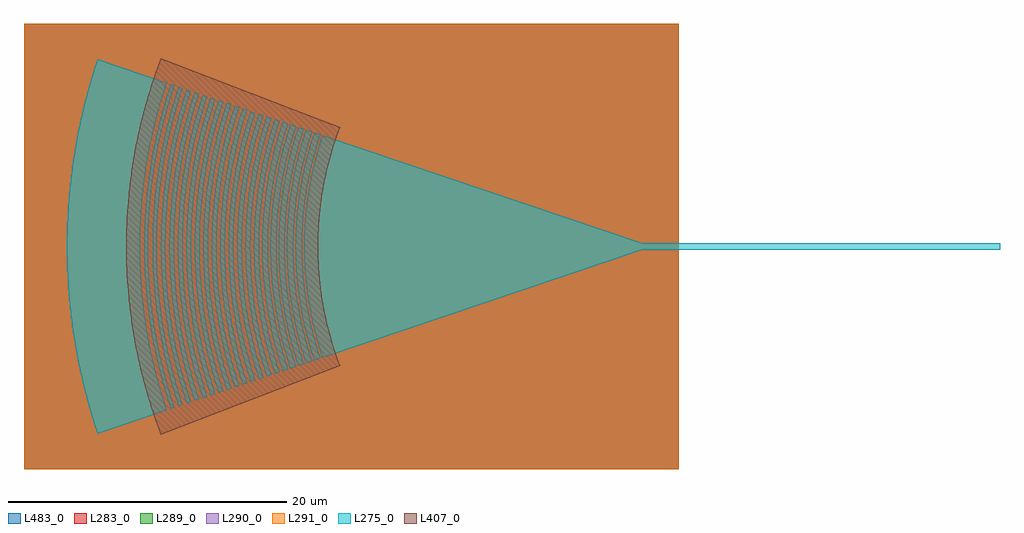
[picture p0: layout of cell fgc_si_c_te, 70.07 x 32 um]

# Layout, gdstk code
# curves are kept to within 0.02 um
import gdstk
lib = gdstk.Library(unit=1e-6, precision=1e-09)
def R(c, l, rs):  # rectangles x0, y0, x1, y1
    for r in rs: c.add(gdstk.rectangle(r[:2], r[2:], *l))
def P(c, l, *ps):  # polygons
    for p in ps: c.add(gdstk.Polygon(p, *l))
L275_0 = (275, 0)
L283_0 = (283, 0)
L289_0 = (289, 0)
L290_0 = (290, 0)
L291_0 = (291, 0)
L407_0 = (407, 0)
L483_0 = (483, 0)

fgc_si_c_te = lib.new_cell('fgc_si_c_te')
P(fgc_si_c_te, L275_0, [(1.793,-9.725),(1.407,-8.5),(1.104,-7.381),(0.81,-6.088),(0.599,-4.948),(0.432,-3.801),(0.295,-2.482),(0.222,-1.325),(0.194,-0.166),(0.222,1.325),(0.295,2.482),(0.432,3.801),(0.599,4.948),(0.81,6.088),(1.104,7.381),(1.407,8.5),(1.793,9.724),(2.117,9.615),(1.782,8.561),(1.476,7.456),(1.213,6.34),(0.964,5.054),(0.772,3.758),(0.65,2.618),(0.564,1.31),(0.536,0.164),(0.552,-0.983),(0.623,-2.291),(0.752,-3.595),(0.937,-4.892),(1.145,-6.02),(1.436,-7.297),(1.782,-8.561),(2.117,-9.616)],
  [(-2.237,-11.087),(-2.624,-9.872),(-3.023,-8.414),(-3.358,-6.941),(-3.567,-5.827),(-3.764,-4.52),(-3.929,-3.018),(-4.019,-1.699),(-4.06,-0.189),(-4.042,1.133),(-3.96,2.642),(-3.834,3.958),(-3.598,5.641),(-3.358,6.941),(-3.023,8.414),(-2.624,9.872),(-2.237,11.086),(-1.916,10.978),(-2.352,9.596),(-2.694,8.332),(-3.026,6.873),(-3.264,5.586),(-3.475,4.105),(-3.607,2.802),(-3.697,1.309),(-3.722,0),(-3.697,-1.309),(-3.607,-2.802),(-3.475,-4.105),(-3.264,-5.586),(-3.026,-6.873),(-2.694,-8.332),(-2.352,-9.596),(-1.916,-10.979)],
  [(-1.664,-10.894),(-2.044,-9.699),(-2.436,-8.267),(-2.765,-6.82),(-3.001,-5.542),(-3.188,-4.257),(-3.326,-2.965),(-3.423,-1.484),(-3.455,-0.186),(-3.437,1.113),(-3.356,2.596),(-3.211,4.073),(-3.001,5.542),(-2.765,6.82),(-2.436,8.267),(-2.044,9.699),(-1.664,10.893),(-1.336,10.782),(-1.712,9.6),(-2.1,8.183),(-2.388,6.93),(-2.659,5.486),(-2.844,4.214),(-2.981,2.935),(-3.077,1.469),(-3.109,0),(-3.077,-1.469),(-2.981,-2.935),(-2.844,-4.214),(-2.659,-5.486),(-2.388,-6.93),(-2.1,-8.183),(-1.712,-9.6),(-1.336,-10.783)],
  [(1.215,-9.921),(0.821,-8.671),(0.471,-7.365),(0.212,-6.211),(-0.003,-5.047),(-0.194,-3.709),(-0.327,-2.364),(-0.394,-1.183),(-0.417,0),(-0.394,1.183),(-0.327,2.364),(-0.194,3.709),(-0.003,5.047),(0.212,6.211),(0.471,7.365),(0.821,8.671),(1.215,9.92),(1.538,9.81),(1.102,8.415),(0.802,7.284),(0.361,5.157),(0.186,4),(0.041,2.671),(-0.047,1.337),(-0.076,0),(-0.047,-1.337),(0.041,-2.671),(0.186,-4),(0.361,-5.157),(0.802,-7.284),(1.102,-8.415),(1.538,-9.811)],
  [(-1.086,-10.698),(-1.459,-9.525),(-1.844,-8.119),(-2.13,-6.876),(-2.369,-5.623),(-2.583,-4.181),(-2.718,-2.912),(-2.805,-1.64),(-2.845,-0.182),(-2.821,1.275),(-2.748,2.549),(-2.605,4),(-2.399,5.443),(-2.13,6.876),(-1.844,8.119),(-1.459,9.525),(-1.086,10.697),(-0.755,10.585),(-1.175,9.253),(-1.505,8.034),(-1.825,6.627),(-2.054,5.386),(-2.258,3.958),(-2.4,2.522),(-2.472,1.262),(-2.496,0),(-2.472,-1.262),(-2.4,-2.522),(-2.258,-3.958),(-2.054,-5.386),(-1.825,-6.627),(-1.505,-8.034),(-1.175,-9.253),(-0.755,-10.586)],
  [(2.937,-9.339),(2.611,-8.315),(2.314,-7.242),(2.058,-6.158),(1.817,-4.908),(1.63,-3.649),(1.498,-2.384),(1.422,-1.113),(1.401,-0.159),(1.422,1.113),(1.498,2.384),(1.611,3.492),(1.765,4.594),(1.961,5.69),(2.275,7.087),(2.566,8.162),(2.937,9.338),(3.274,9.224),(2.864,7.912),(2.582,6.848),(2.341,5.775),(2.116,4.538),(1.964,3.449),(1.853,2.355),(1.784,1.257),(1.757,0.157),(1.772,-0.943),(1.853,-2.355),(1.964,-3.449),(2.116,-4.538),(2.341,-5.775),(2.582,-6.848),(2.864,-7.912),(3.274,-9.225)],
  [(4.073,-8.955),(3.476,-6.944),(3.199,-5.755),(2.999,-4.706),(2.82,-3.499),(2.707,-2.438),(2.634,-1.372),(2.601,-0.153),(2.621,1.068),(2.694,2.286),(2.82,3.499),(2.974,4.556),(3.168,5.606),(3.402,6.648),(3.718,7.826),(4.073,8.954),(4.471,8.819),(4.163,7.853),(3.846,6.694),(3.579,5.522),(3.388,4.488),(3.218,3.298),(3.112,2.251),(3.046,1.202),(3.02,0),(3.046,-1.202),(3.112,-2.251),(3.218,-3.298),(3.388,-4.488),(3.579,-5.522),(3.846,-6.694),(4.163,-7.853),(4.471,-8.82)],
  [(2.374,-9.529),(1.995,-8.328),(1.698,-7.232),(1.41,-5.966),(1.204,-4.848),(1.02,-3.563),(0.906,-2.432),(0.828,-1.136),(0.806,0),(0.828,1.136),(0.906,2.432),(1.02,3.563),(1.204,4.848),(1.41,5.966),(1.698,7.232),(1.995,8.328),(2.374,9.528),(2.696,9.419),(2.322,8.233),(2.068,7.305),(1.776,6.054),(1.566,4.951),(1.398,3.84),(1.245,2.404),(1.182,1.444),(1.147,0.161),(1.168,-1.123),(1.232,-2.244),(1.358,-3.522),(1.514,-4.634),(1.712,-5.74),(1.99,-6.993),(2.322,-8.233),(2.696,-9.42)],
  [(0.64,-10.115),(0.238,-8.841),(-0.077,-7.676),(-0.348,-6.501),(-0.602,-5.146),(-0.775,-3.953),(-0.918,-2.582),(-0.994,-1.378),(-1.024,0),(-0.994,1.378),(-0.918,2.582),(-0.775,3.953),(-0.602,5.146),(-0.348,6.501),(-0.077,7.676),(0.238,8.841),(0.64,10.114),(0.965,10.004),(0.52,8.581),(0.215,7.428),(-0.047,6.264),(-0.291,4.922),(-0.456,3.741),(-0.59,2.384),(-0.658,1.193),(-0.681,0),(-0.658,-1.193),(-0.59,-2.384),(-0.456,-3.741),(-0.291,-4.922),(-0.047,-6.264),(0.215,-7.428),(0.52,-8.581),(0.965,-10.005)],
  [(-2.811,-11.281),(-3.259,-9.86),(-3.657,-8.375),(-3.951,-7.063),(-4.196,-5.74),(-4.39,-4.409),(-4.549,-2.88),(-4.633,-1.537),(-4.666,-0.192),(-4.648,1.153),(-4.564,2.688),(-4.436,4.027),(-4.227,5.55),(-3.951,7.063),(-3.657,8.375),(-3.259,9.86),(-2.811,11.28),(-2.511,11.179),(-2.901,9.954),(-3.303,8.485),(-3.641,6.999),(-3.883,5.688),(-4.075,4.369),(-4.233,2.854),(-4.316,1.523),(-4.349,0.19),(-4.287,-2.094),(-4.181,-3.423),(-4.051,-4.558),(-3.751,-6.438),(-3.437,-7.929),(-3.007,-9.588),(-2.511,-11.18)],
  [(-3.387,-11.476),(-3.842,-10.03),(-4.2,-8.709),(-4.507,-7.376),(-4.795,-5.839),(-5.016,-4.291),(-5.154,-2.929),(-5.248,-1.368),(-5.274,0),(-5.248,1.368),(-5.154,2.929),(-5.016,4.291),(-4.795,5.839),(-4.507,7.376),(-4.2,8.709),(-3.842,10.03),(-3.387,11.475),(-3.1,11.378),(-3.605,9.759),(-3.998,8.259),(-4.326,6.743),(-4.615,5.023),(-4.868,2.711),(-4.945,1.357),(-4.971,0.194),(-4.952,-1.163),(-4.882,-2.518),(-4.781,-3.676),(-4.615,-5.023),(-4.326,-6.743),(-3.998,-8.259),(-3.605,-9.759),(-3.1,-11.379)],
  [(-9.21,-13.443),(-9.724,-11.812),(-10.172,-10.161),(-10.552,-8.493),(-10.864,-6.812),(-11.107,-5.119),(-11.28,-3.417),(-11.385,-1.71),(-11.42,0),(-11.385,1.71),(-11.28,3.417),(-11.107,5.119),(-10.864,6.812),(-10.552,8.493),(-10.172,10.161),(-9.724,11.812),(-9.21,13.443),(-4.237,11.762),(-4.704,10.281),(-5.07,8.927),(-5.426,7.364),(-5.681,5.985),(-5.883,4.597),(-6.032,3.202),(-6.127,1.803),(-6.171,0.2),(-6.145,-1.402),(-6.064,-2.803),(-5.931,-4.199),(-5.681,-5.985),(-5.426,-7.364),(-5.07,-8.927),(-4.704,-10.281),(-4.237,-11.763)],
  [(-0.509,-10.503),(-0.926,-9.18),(-1.253,-7.971),(-1.571,-6.575),(-1.798,-5.344),(-2,-3.927),(-2.127,-2.681),(-2.205,-1.431),(-2.236,-0.179),(-2.219,1.073),(-2.141,2.503),(-2.021,3.749),(-1.827,5.167),(-1.571,6.575),(-1.296,7.797),(-0.926,9.18),(-0.509,10.502),(-0.184,10.392),(-0.596,9.084),(-0.963,7.716),(-1.234,6.507),(-1.488,5.113),(-1.638,4.062),(-1.784,2.653),(-1.862,1.416),(-1.893,0),(-1.862,-1.416),(-1.784,-2.653),(-1.638,-4.062),(-1.488,-5.113),(-1.234,-6.507),(-0.963,-7.716),(-0.596,-9.084),(-0.184,-10.393)],
  [(3.514,-9.144),(3.151,-7.992),(2.828,-6.788),(2.589,-5.724),(2.391,-4.652),(2.234,-3.573),(2.105,-2.334),(2.037,-1.246),(2.01,-0.156),(2.025,0.934),(2.093,2.179),(2.215,3.419),(2.366,4.498),(2.589,5.724),(2.828,6.788),(3.151,7.992),(3.514,9.143),(3.864,9.024),(3.506,7.888),(3.188,6.7),(2.952,5.65),(2.732,4.44),(2.583,3.374),(2.474,2.304),(2.407,1.23),(2.38,0),(2.407,-1.23),(2.474,-2.304),(2.583,-3.374),(2.732,-4.44),(2.952,-5.65),(3.188,-6.7),(3.506,-7.888),(3.864,-9.025)],
  [(6.338,-8.19),(6.052,-7.291),(5.757,-6.215),(5.538,-5.263),(5.332,-4.167),(5.192,-3.2),(5.076,-2.09),(4.991,-0.14),(5.009,0.976),(5.076,2.09),(5.192,3.2),(5.332,4.167),(5.538,5.263),(5.757,6.215),(6.052,7.291),(6.338,8.189),(6.791,8.035),(6.51,7.155),(6.221,6.099),(5.978,5.031),(5.804,4.089),(5.564,2.188),(5.499,1.232),(5.469,0.137),(5.482,-0.821),(5.542,-1.915),(5.649,-3.005),(5.782,-3.954),(5.978,-5.031),(6.188,-5.966),(6.51,-7.155),(6.791,-8.036)],
  [(4.631,-8.766),(4.325,-7.805),(4.009,-6.653),(3.579,-4.607),(3.423,-3.574),(3.293,-2.386),(3.215,-1.194),(3.189,-0.149),(3.209,1.045),(3.269,2.089),(3.368,3.129),(3.531,4.313),(3.715,5.342),(4.009,6.653),(4.325,7.805),(4.631,8.765),(5.05,8.624),(4.707,7.538),(4.403,6.403),(3.991,4.388),(3.825,3.225),(3.721,2.201),(3.657,1.175),(3.631,0),(3.657,-1.175),(3.721,-2.201),(3.825,-3.225),(3.991,-4.388),(4.403,-6.403),(4.707,-7.538),(5.05,-8.625)],
  [(0.066,-10.309),(-0.344,-9.01),(-0.665,-7.824),(-0.977,-6.454),(-1.2,-5.245),(-1.377,-4.029),(-1.522,-2.631),(-1.599,-1.405),(-1.63,0),(-1.599,1.405),(-1.522,2.631),(-1.377,4.029),(-1.2,5.245),(-0.977,6.454),(-0.665,7.824),(-0.344,9.01),(0.066,10.308),(0.392,10.198),(0.036,9.081),(-0.331,7.74),(-0.604,6.555),(-0.86,5.189),(-1.057,3.813),(-1.179,2.603),(-1.255,1.39),(-1.286,0),(-1.255,-1.39),(-1.179,-2.603),(-1.057,-3.813),(-0.86,-5.189),(-0.604,-6.555),(-0.331,-7.74),(0.036,-9.081),(0.392,-10.199)],
  [(6.933,-7.988),(6.4,-6.194),(6.125,-5.001),(5.952,-4.064),(5.798,-2.987),(5.702,-2.039),(5.619,-0.136),(5.637,0.952),(5.702,2.039),(5.93,3.93),(6.098,4.868),(6.334,5.93),(6.616,6.982),(6.933,7.987),(29.904,0.225),(55.569,0.225),(55.569,-0.225),(29.904,-0.225)],
  [(-3.95,-11.666),(-4.357,-10.387),(-4.776,-8.854),(-5.089,-7.498),(-5.382,-5.936),(-5.582,-4.559),(-5.747,-2.978),(-5.834,-1.589),(-5.868,-0.199),(-5.842,1.391),(-5.747,2.978),(-5.63,4.164),(-5.414,5.739),(-5.129,7.303),(-4.824,8.661),(-4.413,10.196),(-3.95,11.665),(-3.684,11.575),(-4.198,9.928),(-4.598,8.402),(-4.968,6.667),(-5.225,5.11),(-5.394,3.74),(-5.511,2.365),(-5.588,0),(-5.511,-2.365),(-5.394,-3.74),(-5.225,-5.11),(-4.968,-6.667),(-4.598,-8.402),(-4.198,-9.928),(-3.684,-11.576)],
  [(5.192,-8.577),(4.851,-7.496),(4.584,-6.509),(4.325,-5.369),(4.139,-4.364),(3.974,-3.207),(3.859,-2.044),(3.781,0),(3.859,2.044),(3.974,3.207),(4.139,4.364),(4.325,5.369),(4.584,6.509),(4.851,7.496),(5.192,8.576),(5.606,8.436),(5.271,7.374),(5.008,6.403),(4.594,4.434),(4.444,3.439),(4.319,2.297),(4.25,1.293),(4.219,0.144),(4.238,-1.006),(4.295,-2.01),(4.525,-4.009),(4.753,-5.282),(5.008,-6.403),(5.271,-7.374),(5.606,-8.437)],
  [(5.748,-8.389),(5.189,-6.505),(4.929,-5.391),(4.742,-4.409),(4.593,-3.42),(4.468,-2.284),(4.4,-1.286),(4.369,-0.143),(4.434,1.856),(4.54,2.994),(4.696,4.127),(4.9,5.252),(5.119,6.227),(5.415,7.332),(5.748,8.388),(6.195,8.237),(5.646,6.388),(5.391,5.294),(5.184,4.191),(5.043,3.219),(4.927,2.103),(4.841,0.14),(4.859,-0.982),(4.927,-2.103),(5.043,-3.219),(5.184,-4.191),(5.391,-5.294),(5.646,-6.388),(6.195,-8.238)])
R(fgc_si_c_te, L283_0, [(-14.5,-16,32.5,16)])
R(fgc_si_c_te, L289_0, [(-14.5,-16,32.5,16)])
R(fgc_si_c_te, L290_0, [(-14.5,-16,32.5,16)])
R(fgc_si_c_te, L291_0, [(-14.5,-16,32.5,16)])
P(fgc_si_c_te, L407_0, [(-4.672,-13.506),(-5.253,-11.88),(-5.759,-10.229),(-6.237,-8.347),(-6.541,-6.868),(-6.786,-5.377),(-6.993,-3.663),(-7.11,-2.157),(-7.171,-0.216),(-7.141,1.51),(-7.033,3.233),(-6.845,4.949),(-6.58,6.655),(-6.237,8.347),(-5.759,10.229),(-5.253,11.88),(-4.672,13.506),(8.205,8.571),(7.836,7.539),(7.515,6.492),(7.274,5.564),(7.044,4.493),(6.863,3.412),(6.732,2.325),(6.658,1.369),(6.619,0.137),(6.638,-0.958),(6.707,-2.052),(6.808,-3.005),(6.994,-4.223),(7.212,-5.297),(7.515,-6.492),(7.836,-7.539),(8.205,-8.571)])
R(fgc_si_c_te, L483_0, [(-14.5,-16,32.5,16)])

lib.write_gds('fgc_si_c_te.gds')
